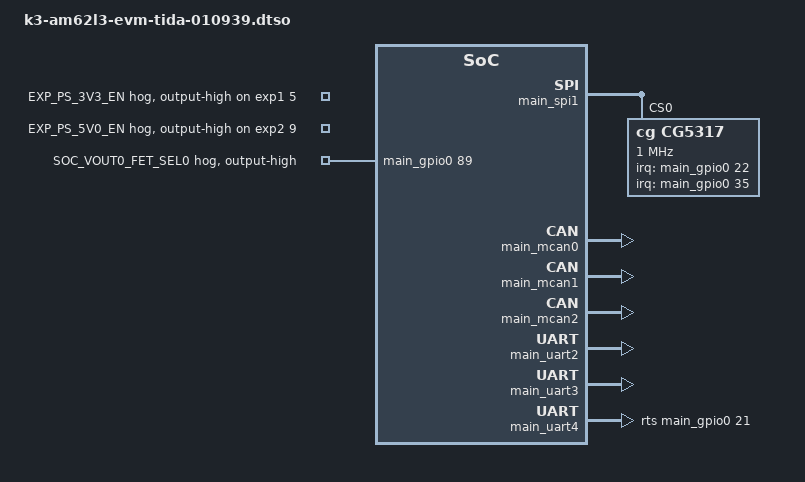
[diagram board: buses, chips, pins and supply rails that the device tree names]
// SPDX-License-Identifier: GPL-2.0-only OR MIT
/**
 *
 * DT Overlay for TIDA-010939 Electric vehicle supply equipment
 * front-end controller for AM62L3 EVM.
 *
 * TIDA-010939: https://www.ti.com/tool/EN/TIDA-010939
 *
 * Copyright (C) 2025 Texas Instruments Incorporated - https://www.ti.com/
*/

/dts-v1/;
/plugin/;

#include <dt-bindings/gpio/gpio.h>

#include "k3-pinctrl.h"

/* Enable extension header power */
&exp1 {
	/* Enable 3.3V power */
	exp_3v3_en: exp-3v3-en {
		gpio-hog;
		gpios = <5 GPIO_ACTIVE_HIGH>;
		output-high;
		line-name = "EXP_PS_3V3_EN";
	};
};

&exp2 {
	/* Enable 5V power */
	exp_5v0_en: exp-5v0-en {
		gpio-hog;
		gpios = <9 GPIO_ACTIVE_HIGH>;
		output-high;
		line-name = "EXP_PS_5V0_EN";
	};
};

/* Pinctrl */
&pmx0 {
	/* Extension header mux selects */
	fetswitchselection_pins_default: fetswitchselection-default-pins {
		pinctrl-single,pins = <
			AM62LX_IOPAD(0x01a8, PIN_OUTPUT, 7) /* (E13) SPI0_CLK.GPIO0_89 */
		>;
	};

	/* CG5317 pins */
	cg5317_interrupt_pins_default: cg5317-interrupt-pins-default {
		pinctrl-single,pins = <
			AM62LX_IOPAD(0x0094, PIN_INPUT, 7) /* (J22) GPIO0_22 */
			AM62LX_IOPAD(0x00cc, PIN_INPUT, 7) /* (P23) GPIO0_35 */
		>;
	};

	cg5317_reset_pin_default: cg5317-reset-pin-default {
		pinctrl-single,pins = <
			AM62LX_IOPAD(0x00dc, PIN_OUTPUT, 7) /* (N21) GPMC0_WPn.GPIO0_39 */
		>;
	};

	main_spi1_pins_default: main-spi1-pins-default {
		pinctrl-single,pins = <
			AM62LX_IOPAD(0x008c, PIN_INPUT, 4) /* (H22) SPI1_CLK */
			AM62LX_IOPAD(0x0080, PIN_OUTPUT, 4) /* (K22) SPI1_DO */
			AM62LX_IOPAD(0x0084, PIN_INPUT, 4) /* (J23) SPI1_DI */
			AM62LX_IOPAD(0x0088, PIN_OUTPUT, 4) /* (K23) SPI1_CS0 */
		>;
	};

	/* MSP pins */
	msp_gpio_pins_default: msp-gpio-default-pins {
		pinctrl-single,pins = <
			AM62LX_IOPAD(0x00b4, PIN_OUTPUT, 7) /* (F23) GPMC0_AD15.GPIO0_30 */
			AM62LX_IOPAD(0x00d0, PIN_OUTPUT, 7) /* (P22) GPMC0_BE1n.GPIO0_36 */
		>;
	};

	msp_uart_pins_default: msp-uart-default-pins {
		pinctrl-single,pins = <
			AM62LX_IOPAD(0x0098, PIN_INPUT, 2) /* (H19) GPMC0_AD8.UART2_RXD */
			AM62LX_IOPAD(0x009c, PIN_OUTPUT, 2) /* (H20) GPMC0_AD9.UART2_TXD */
		>;
	};

	/* CAN pins */
	can_tida939_pins_default: can-tida939-default-pins {
		pinctrl-single,pins = <
			AM62LX_IOPAD(0x00d8, PIN_INPUT, 9) /* (N22) GPMC0_WAIT1.MCAN1_RX */
			AM62LX_IOPAD(0x00e0, PIN_OUTPUT, 9) /* (M21) GPMC0_DIR.MCAN1_TX */
		>;
	};

	main_mcan0_pins_default: main-mcan0-default-pins {
		pinctrl-single,pins = <
			AM62LX_IOPAD(0x01c8, PIN_INPUT, 0) /* (B15) MCAN0_RX */
			AM62LX_IOPAD(0x01c4, PIN_OUTPUT, 0) /* (B16) MCAN0_TX */
		>;
	};

	main_mcan2_pins_default: main-mcan2-default-pins {
		pinctrl-single,pins = <
			AM62LX_IOPAD(0x01bc, PIN_INPUT, 6) /* (B14) UART0_CTSn.MCAN2_RX */
			AM62LX_IOPAD(0x01c0, PIN_OUTPUT, 6) /* (B13) UART0_RTSn.MCAN2_TX */
		>;
	};

	/* RS485 */
	rs485_pins_default: rs485-default-pins {
		pinctrl-single,pins = <
			AM62LX_IOPAD(0x0090, PIN_INPUT, 7) /* (H23) GPMC0_AD6.GPIO0_21 */
			AM62LX_IOPAD(0x00a8, PIN_INPUT, 2) /* (G23) GPMC0_AD12.UART4_RXD */
			AM62LX_IOPAD(0x00ac, PIN_OUTPUT, 2) /* (G22) GPMC0_AD13.UART4_TXD */
		>;
	};

	/* RS232 */
	rs232_pins_default: rs232-default-pins {
		pinctrl-single,pins = <
			AM62LX_IOPAD(0x00a0, PIN_INPUT, 2) /* (H21) GPMC0_AD10.UART3_RXD */
			AM62LX_IOPAD(0x00a4, PIN_OUTPUT, 2) /* (H18) GPMC0_AD11.UART3_TXD */
		>;
	};
};

&main_gpio0 {
	pinctrl-names = "default";
	pinctrl-0 = <&fetswitchselection_pins_default>;
	fet-switch-select-hog {
		gpio-hog;
		gpios = <89 GPIO_ACTIVE_HIGH>;
		output-high;
		line-name = "SOC_VOUT0_FET_SEL0";
	};
};

&main_spi1 {
	pinctrl-names = "default";
	pinctrl-0 = <&main_spi1_pins_default>,
		<&cg5317_interrupt_pins_default>,
		<&cg5317_reset_pin_default>;
	ti,pindir-d0-out-d1-in = <0x01>;
	status = "okay";

	cg5317@0 {
		compatible = "cg,cg5317";
		reg = <0>;
		interrupts-extended = <&main_gpio0 22 0x1>,
			<&main_gpio0 35 0x1>;
		interrupt-names = "gp_irq", "rx_irq";
		spi-cpha;
		spi-max-frequency = <1000000>;
	};
};

&main_mcan0 {
	pinctrl-names = "default";
	pinctrl-0 = <&main_mcan0_pins_default>;
	status = "okay";
	bootph-all;
};

&main_mcan1 {
	pinctrl-names = "default";
	pinctrl-0 = <&can_tida939_pins_default>;
	status = "okay";
	bootph-all;
};

&main_mcan2 {
	pinctrl-names = "default";
	pinctrl-0 = <&main_mcan2_pins_default>;
	status = "okay";
	bootph-all;
};

&main_uart2 {
	pinctrl-names = "default";
	pinctrl-0 = <&msp_uart_pins_default>,
	<&msp_gpio_pins_default>;
	status = "okay";
	bootph-all;
};

&main_uart3 {
	pinctrl-names = "default";
	pinctrl-0 = <&rs232_pins_default>;
	status = "okay";
	bootph-all;
};

&main_uart4 {
	pinctrl-names = "default";
	pinctrl-0 = <&rs485_pins_default>;
	status = "okay";
	rts-gpios = <&main_gpio0 21 GPIO_ACTIVE_HIGH>;
	linux,rs485-enabled-at-boot-time;
	bootph-all;
};

/**
 * Disable HDMI bridge, since Video Output pins are used as
 * MSP, CAN, RS232 & RS485 pins on TIDA-010939.
 */
&sii9022 {
	status = "disabled";
};
